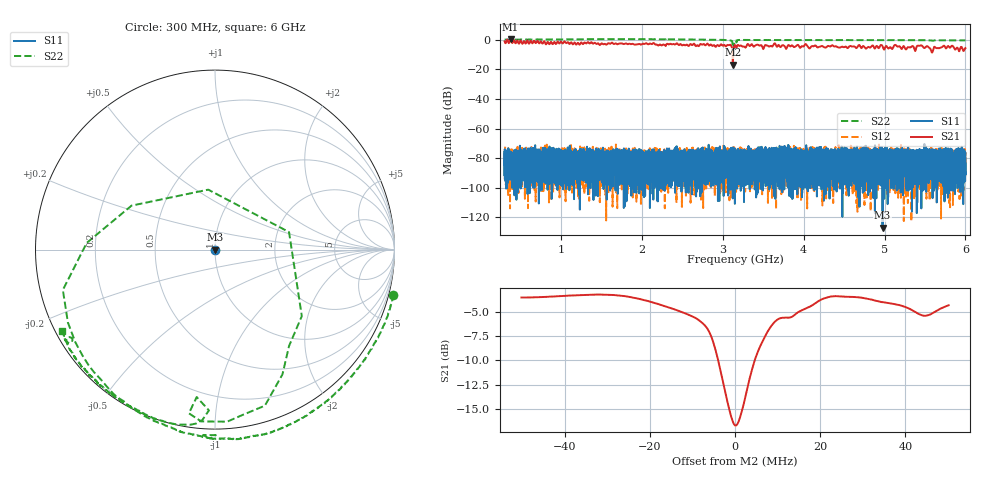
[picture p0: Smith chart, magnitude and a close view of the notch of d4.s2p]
!Agilent Technologies,N5230C,SG49000117,A.08.50.07
!Agilent N5230C: A.08.50.07
!Date: Sunday, March 17, 2024 09:29:46
!Correction: S11(Off)
!S21(Off)
!S12(Off)
!S22(Full 1 Port(2))
!S2P File: Measurements: S11, S21, S12, S22:
# Hz S  RI  R 50
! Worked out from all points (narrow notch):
!   20001 points, 300 MHz to 6 GHz, reference 50 ohm
!   highest |S21| = 0.46 dB at 373.5 MHz (marker M1); lowest = -16.7 dB at 3.123 GHz (marker M2)
!   notch at M2: 13.0 dB deep, 8.39 MHz wide at half that depth
!   lowest |S11| = -127.1 dB at 4.975 GHz (marker M3), VSWR 1.00, Z = 50 + j3.68e-05 ohm
!   |S11| at or under -10 dB: start of sweep to end of sweep
!   |S22| runs from -9.8 to 0.6 dB; largest |S21 - S12| = 1.1
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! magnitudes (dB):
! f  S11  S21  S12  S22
! 300 MHz  -76.0  -1.0  -78.8  0.2
! 373.5 MHz  -85.0  0.5  -84.3  0.2
! 1.25 GHz  -82.2  -1.7  -82.7  0.4
! 2.2 GHz  -83.0  -3.8  -78.3  0.5
! 3.075 GHz  -78.6  -3.5  -81.5  -0.2
! 3.123 GHz  -75.3  -16.7  -98.9  -5.6
! 3.15 GHz  -76.7  -3.5  -74.6  -0.5
! 3.165 GHz  -80.4  -5.0  -88.8  -1.1
! 3.21 GHz  -84.2  -4.1  -72.9  0.0
! 3.777 GHz  -78.9  -5.7  -77.8  -0.1
! 4.022 GHz  -75.1  -2.8  -78.3  -0.1
! 4.1 GHz  -80.6  -4.2  -74.7  -0.1
! 4.975 GHz  -127.1  -4.3  -80.7  -0.1
! 5.05 GHz  -82.0  -5.8  -85.2  -0.1
! 5.142 GHz  -81.3  -3.7  -79.3  -0.1
! 5.377 GHz  -79.9  -7.5  -79.3  -0.2
! 5.436 GHz  -85.6  -4.0  -93.0  -0.2
! 5.538 GHz  -84.8  -4.6  -76.5  -0.2
! 5.579 GHz  -88.2  -7.7  -86.4  -0.3
! 5.722 GHz  -81.1  -4.4  -85.9  -0.2
! 5.971 GHz  -84.1  -7.1  -85.3  -0.3
! 6 GHz  -83.6  -5.5  -75.8  -0.3
